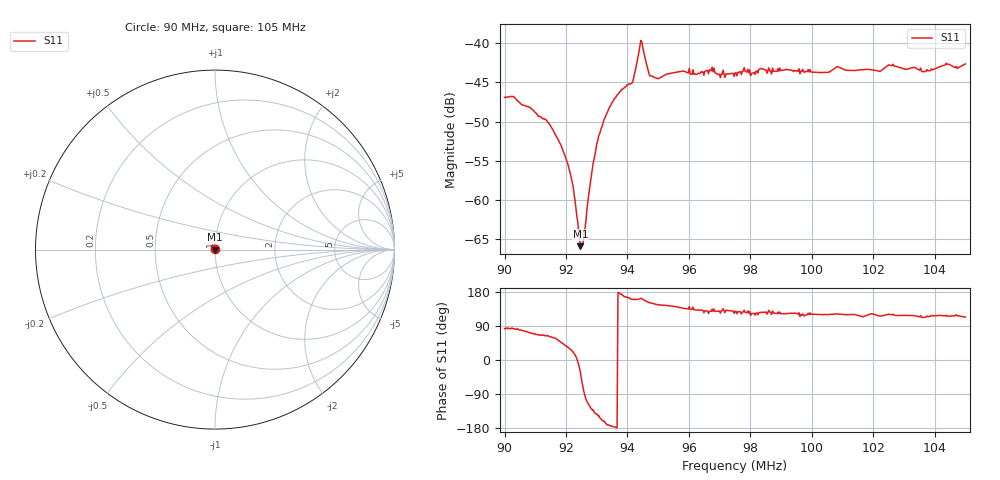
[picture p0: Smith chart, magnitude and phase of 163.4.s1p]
# HZ S RI R 50
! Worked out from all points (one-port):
!   505 points, 90 MHz to 105 MHz, reference 50 ohm
!   lowest |S11| = -65.9 dB at 92.47 MHz (marker M1), VSWR 1.00, Z = 50 - j0.0282 ohm
!   |S11| at or under -10 dB: start of sweep to end of sweep
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9e7  0.000568 0.00447
9.029762e7  0.000577 0.00451
9.136905e7  0.00144 0.00288
9.187501e7  0.00151 0.0015
9.217263e7  0.00124 0.000598
9.247025e7  0.000423 -0.000282
9.252977e7  0.000231 -0.000455
9.258929e7  3.82e-05 -0.000609
9.282739e7  -0.000896 -0.00113
9.306549e7  -0.00215 -0.00142
9.342263e7  -0.0039 -0.000496
9.375001e7  -0.00488 0.000363
9.413692e7  -0.00523 0.00186
9.443454e7  -0.00993 0.00309
9.449406e7  -0.00894 0.0032
9.467263e7  -0.00593 0.00309
9.476192e7  -0.00535 0.00305
9.562502e7  -0.005 0.00421
9.675597e7  -0.00491 0.00504
9.696431e7  -0.00397 0.00492
9.750002e7  -0.00401 0.00505
9.937503e7  -0.00369 0.00558
1.0125e8  -0.00333 0.00581
1.022024e8  -0.0029 0.00593
1.025893e8  -0.00356 0.00626
1.03125e8  -0.00318 0.00607
1.036608e8  -0.00255 0.00607
1.05e8  -0.0029 0.00677
